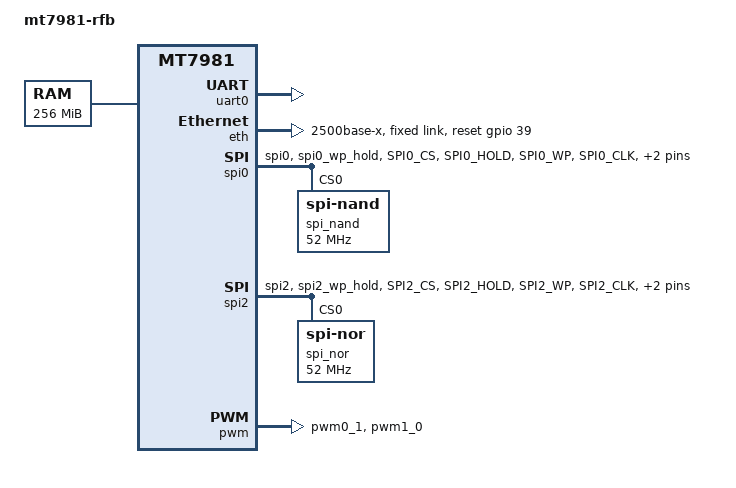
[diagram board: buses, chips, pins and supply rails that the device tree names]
// SPDX-License-Identifier: GPL-2.0
/*
 * Copyright (c) 2022 MediaTek Inc.
 * Author: Sam Shih <sam.shih@mediatek.com>
 */

/dts-v1/;
#include "mt7981.dtsi"
#include <dt-bindings/gpio/gpio.h>

/ {
	#address-cells = <1>;
	#size-cells = <1>;
	model = "mt7981-rfb";
	compatible = "mediatek,mt7981", "mediatek,mt7981-rfb";
	chosen {
		stdout-path = &uart0;
		tick-timer = &timer0;
	};

	memory@40000000 {
		device_type = "memory";
		reg = <0x40000000 0x10000000>;
	};
};

&uart0 {
	status = "okay";
};

&uart1 {
	pinctrl-names = "default";
	pinctrl-0 = <&uart1_pins>;
	status = "disabled";
};

&eth {
	status = "okay";
	mediatek,gmac-id = <0>;
	phy-mode = "2500base-x";
	mediatek,switch = "mt7531";
	reset-gpios = <&gpio 39 GPIO_ACTIVE_HIGH>;

	fixed-link {
		speed = <2500>;
		full-duplex;
	};
};

&pinctrl {
	spi_flash_pins: spi0-pins-func-1 {
		mux {
			function = "flash";
			groups = "spi0", "spi0_wp_hold";
		};

		conf-pu {
			pins = "SPI0_CS", "SPI0_HOLD", "SPI0_WP";
			drive-strength = <MTK_DRIVE_8mA>;
			bias-pull-up = <MTK_PUPD_SET_R1R0_11>;
		};

		conf-pd {
			pins = "SPI0_CLK", "SPI0_MOSI", "SPI0_MISO";
			drive-strength = <MTK_DRIVE_8mA>;
			bias-pull-down = <MTK_PUPD_SET_R1R0_11>;
		};
	};

	spi2_flash_pins: spi2-spi2-pins {
		mux {
			function = "spi";
			groups = "spi2", "spi2_wp_hold";
		};

		conf-pu {
			pins = "SPI2_CS", "SPI2_HOLD", "SPI2_WP";
			drive-strength = <MTK_DRIVE_8mA>;
			bias-pull-down = <MTK_PUPD_SET_R1R0_00>;
		};

		conf-pd {
			pins = "SPI2_CLK", "SPI2_MOSI", "SPI2_MISO";
			drive-strength = <MTK_DRIVE_8mA>;
			bias-pull-down = <MTK_PUPD_SET_R1R0_00>;
		};
	};

	spic_pins: spi1-pins-func-1 {
		mux {
			function = "spi";
			groups = "spi1_1";
		};
	};

	uart1_pins: spi1-pins-func-3 {
		mux {
			function = "uart";
			groups = "uart1_2";
		};
	};

	/* pin15 as pwm0 */
	one_pwm_pins: one-pwm-pins {
		mux {
			function = "pwm";
			groups = "pwm0_1";
		};
	};

	/* pin15 as pwm0 and pin14 as pwm1 */
	two_pwm_pins: two-pwm-pins {
		mux {
			function = "pwm";
			groups = "pwm0_1", "pwm1_0";
		};
	};

	/* pin15 as pwm0, pin14 as pwm1, pin7 as pwm2 */
	three_pwm_pins: three-pwm-pins {
		mux {
			function = "pwm";
			groups = "pwm0_1", "pwm1_0", "pwm2";
		};
	};
};

&spi0 {
	#address-cells = <1>;
	#size-cells = <0>;
	pinctrl-names = "default";
	pinctrl-0 = <&spi_flash_pins>;
	status = "okay";
	must_tx;
	enhance_timing;
	dma_ext;
	ipm_design;
	support_quad;
	tick_dly = <2>;
	sample_sel = <0>;

	spi_nand@0 {
		compatible = "spi-nand";
		reg = <0>;
		spi-max-frequency = <52000000>;
	};
};

&spi2 {
	#address-cells = <1>;
	#size-cells = <0>;
	pinctrl-names = "default";
	pinctrl-0 = <&spi2_flash_pins>;
	status = "okay";
	must_tx;
	enhance_timing;
	dma_ext;
	ipm_design;
	support_quad;
	tick_dly = <2>;
	sample_sel = <0>;

	spi_nor@0 {
		compatible = "jedec,spi-nor";
		reg = <0>;
		spi-max-frequency = <52000000>;
	};
};

&pwm {
	pinctrl-names = "default";
	pinctrl-0 = <&two_pwm_pins>;
	status = "okay";
};

&watchdog {
	status = "disabled";
};
